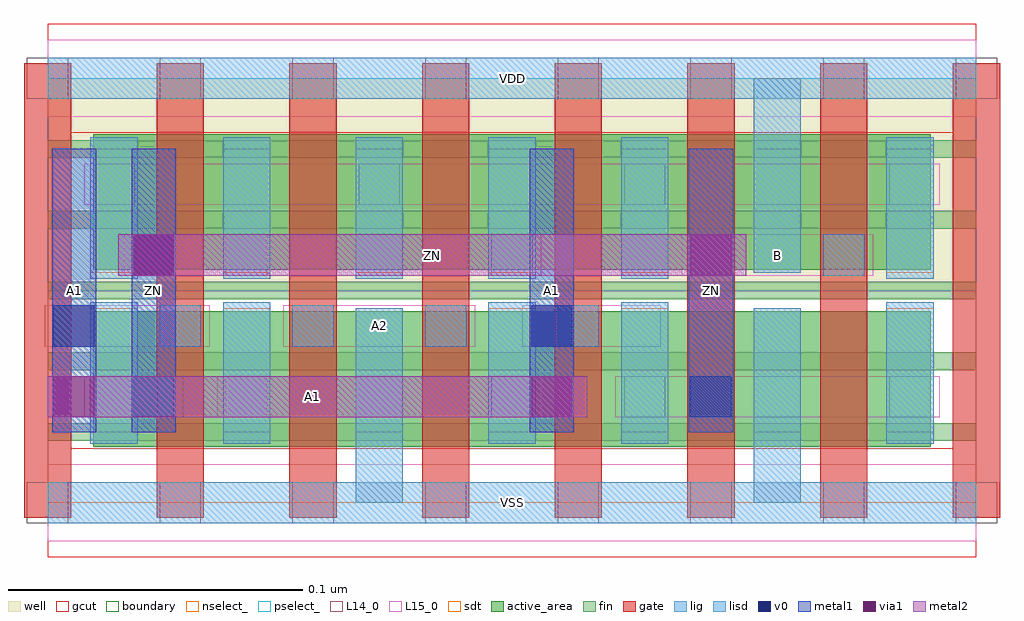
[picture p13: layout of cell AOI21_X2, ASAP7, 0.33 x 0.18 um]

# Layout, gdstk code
import gdstk
lib = gdstk.Library(unit=1e-6, precision=2.5e-10)
def R(c, l, rs):  # rectangles x0, y0, x1, y1
    for r in rs: c.add(gdstk.rectangle(r[:2], r[2:], *l))
def A(c, l, x, y, w, h, nx, ny, dx, dy):  # array of equal rectangles
    R(c, l, [(x+i*dx, y+j*dy, x+i*dx+w, y+j*dy+h) for i in range(nx) for j in range(ny)])
well = (1, 0)
fin = (2, 0)
gate = (7, 0)
gcut = (10, 0)
active_area = (11, 0)
nselect_ = (12, 0)
pselect_ = (13, 0)
L14_0 = (14, 0)
L15_0 = (15, 0)
lig = (16, 0)
lisd = (17, 0)
v0 = (18, 0)
metal1 = (19, 0)
metal2 = (20, 0)
via1 = (21, 0)
sdt = (88, 0)
boundary = (100, 0)

aoi21_x2 = lib.new_cell('AOI21_X2')
R(aoi21_x2, well, [(0,0.072,0.315,0.144)])
A(aoi21_x2, fin, 0, 0.021, 0.315, 0.006, 1, 5, 0, 0.024)
A(aoi21_x2, gate, -0.008, -0.005, 0.016, 0.154, 8, 1, 0.045, 0)
R(aoi21_x2, gcut, [(0,-0.0185,0.315,0.0185), (-0.008,-0.005,0.008,0.149), (0.307,-0.005,0.323,0.149), (0,0.1255,0.315,0.1625)])
A(aoi21_x2, active_area, 0.0155, 0.019, 0.059, 0.046, 6, 2, 0.045, 0.06)
R(aoi21_x2, nselect_, [(0,0,0.315,0.072)])
R(aoi21_x2, pselect_, [(0,0.072,0.315,0.144)])
A(aoi21_x2, L14_0, -0.007, -0.007, 0.014, 0.014, 8, 2, 0.045, 0.144)
A(aoi21_x2, L14_0, 0.038, 0.053, 0.014, 0.014, 4, 1, 0.045, 0)
A(aoi21_x2, L14_0, 0.0155, 0.101, 0.014, 0.014, 4, 1, 0.09, 0)
R(aoi21_x2, L14_0, [(0.0155,0.029,0.0295,0.043), (0.0605,0.029,0.0745,0.043), (0.1505,0.029,0.1645,0.043), (0.1955,0.029,0.2095,0.043), (0.2855,0.029,0.2995,0.043), (0.0605,0.077,0.0745,0.091), (0.1505,0.077,0.1645,0.091), (0.218,0.077,0.232,0.091), (0.263,0.077,0.277,0.091)])
R(aoi21_x2, L15_0, [(0,-0.013,0.315,0.013), (0.0125,0.029,0.046,0.043), (0.0575,0.029,0.1675,0.043), (0.1925,0.029,0.3025,0.043), (-0.001,0.053,0.055,0.067), (0.08,0.053,0.145,0.067), (0.161,0.053,0.208,0.067), (0.026,0.077,0.1675,0.091), (0.215,0.077,0.28,0.091), (0.0125,0.101,0.3025,0.115), (0,0.131,0.315,0.157)])
A(aoi21_x2, lig, 0.038, 0.053, 0.014, 0.014, 4, 1, 0.045, 0)
R(aoi21_x2, lig, [(0,-0.007,0.315,0.007), (0.218,0.077,0.232,0.091), (0.263,0.077,0.277,0.091), (0,0.137,0.315,0.151)])
R(aoi21_x2, lisd, [(0.1045,0,0.1205,0.066), (0.1045,0,0.1205,0.066), (0.2395,0,0.2555,0.066), (0.2395,0,0.2555,0.066), (0.0145,0.02,0.0305,0.068), (0.0595,0.02,0.0755,0.068), (0.0595,0.02,0.0755,0.068), (0.1495,0.02,0.1655,0.068), (0.1495,0.02,0.1655,0.068), (0.1945,0.02,0.2105,0.068), (0.1945,0.02,0.2105,0.068), (0.2845,0.02,0.3005,0.068), (0.0145,0.076,0.0305,0.124), (0.0595,0.076,0.0755,0.124), (0.0595,0.076,0.0755,0.124), (0.1045,0.076,0.1205,0.124), (0.1045,0.076,0.1205,0.124), (0.1495,0.076,0.1655,0.124), (0.1495,0.076,0.1655,0.124), (0.1945,0.076,0.2105,0.124), (0.1945,0.076,0.2105,0.124), (0.2845,0.076,0.3005,0.124), (0.2395,0.078,0.2555,0.144), (0.2395,0.078,0.2555,0.144)])
R(aoi21_x2, v0, [(0.029,0.029,0.043,0.043), (0.218,0.029,0.232,0.043), (0.002,0.053,0.016,0.067), (0.164,0.053,0.178,0.067), (0.029,0.077,0.043,0.091)])
R(aoi21_x2, metal1, [(0.0015,0.024,0.0165,0.12), (0.0285,0.024,0.0435,0.12), (0.1635,0.024,0.1785,0.12), (0.2175,0.024,0.2325,0.12)])
R(aoi21_x2, metal2, [(0,0.029,0.183,0.043), (0.024,0.077,0.237,0.091)])
R(aoi21_x2, via1, [(0.002,0.029,0.016,0.043), (0.164,0.029,0.178,0.043), (0.029,0.077,0.043,0.091), (0.218,0.077,0.232,0.091)])
R(aoi21_x2, sdt, [(0.0145,0.024,0.0305,0.066), (0.0595,0.024,0.0755,0.066), (0.0595,0.024,0.0755,0.066), (0.1045,0.024,0.1205,0.066), (0.1045,0.024,0.1205,0.066), (0.1495,0.024,0.1655,0.066), (0.1495,0.024,0.1655,0.066), (0.1945,0.024,0.2105,0.066), (0.1945,0.024,0.2105,0.066), (0.2395,0.024,0.2555,0.066), (0.2395,0.024,0.2555,0.066), (0.2845,0.024,0.3005,0.066), (0.0145,0.078,0.0305,0.12), (0.0595,0.078,0.0755,0.12), (0.0595,0.078,0.0755,0.12), (0.1045,0.078,0.1205,0.12), (0.1045,0.078,0.1205,0.12), (0.1495,0.078,0.1655,0.12), (0.1495,0.078,0.1655,0.12), (0.1945,0.078,0.2105,0.12), (0.1945,0.078,0.2105,0.12), (0.2395,0.078,0.2555,0.12), (0.2395,0.078,0.2555,0.12), (0.2845,0.078,0.3005,0.12)])
R(aoi21_x2, boundary, [(0,0,0.315,0.144)])
aoi21_x2.add(gdstk.Label('VDD', (0.1575,0.144), layer=1, texttype=251))
aoi21_x2.add(gdstk.Label('VSS', (0.1575,0), layer=3, texttype=251))
aoi21_x2.add(gdstk.Label('A2', (0.1125,0.06), layer=15, texttype=251))
aoi21_x2.add(gdstk.Label('B', (0.2475,0.084), layer=15, texttype=251))
aoi21_x2.add(gdstk.Label('VSS', (0.1575,0), layer=15, texttype=251))
aoi21_x2.add(gdstk.Label('VDD', (0.1575,0.144), layer=15, texttype=251))
aoi21_x2.add(gdstk.Label('A1', (0.009,0.072), layer=19, texttype=251))
aoi21_x2.add(gdstk.Label('ZN', (0.036,0.072), layer=19, texttype=251))
aoi21_x2.add(gdstk.Label('A1', (0.171,0.072), layer=19, texttype=251))
aoi21_x2.add(gdstk.Label('ZN', (0.225,0.072), layer=19, texttype=251))
aoi21_x2.add(gdstk.Label('A1', (0.09,0.036), layer=20, texttype=251))
aoi21_x2.add(gdstk.Label('ZN', (0.1305,0.084), layer=20, texttype=251))

lib.write_gds('AOI21_X2.gds')
